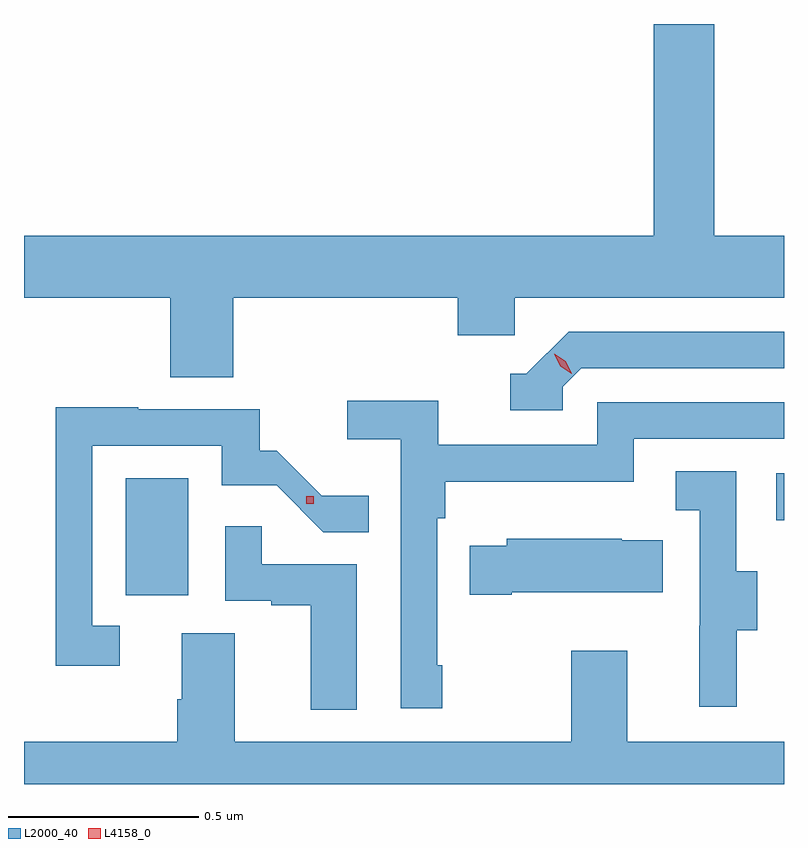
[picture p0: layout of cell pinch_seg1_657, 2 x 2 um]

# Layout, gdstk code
import gdstk
lib = gdstk.Library(unit=1e-6, precision=1e-09)
def R(c, l, rs):  # rectangles x0, y0, x1, y1
    for r in rs: c.add(gdstk.rectangle(r[:2], r[2:], *l))
def P(c, l, *ps):  # polygons
    for p in ps: c.add(gdstk.Polygon(p, *l))
L2000_40 = (2000, 40)
L4158_0 = (4158, 0)

pinch_seg1_657 = lib.new_cell('pinch_seg1_657')
R(pinch_seg1_657, L2000_40, [(1120.586,508.326,1120.75,508.633), (1122.297,508.523,1122.318,508.647)])
P(pinch_seg1_657, L2000_40, [(1120.868,509.108),(1121.459,509.108),(1121.459,509.01),(1121.61,509.01),(1121.61,509.108),(1122.318,509.108),(1122.318,509.272),(1122.135,509.272),(1122.135,509.829),(1121.975,509.829),(1121.975,509.272),(1120.318,509.272),(1120.318,509.108),(1120.703,509.108),(1120.703,508.9),(1120.868,508.9)],
  [(1121.736,508.875),(1121.784,508.923),(1122.318,508.923),(1122.318,509.019),(1121.751,509.019),(1121.64,508.908),(1121.597,508.908),(1121.597,508.812),(1121.736,508.812)],
  [(1121.419,508.141),(1121.406,508.141),(1121.406,508.529),(1121.426,508.529),(1121.426,508.625),(1121.922,508.625),(1121.922,508.737),(1122.318,508.737),(1122.318,508.833),(1121.826,508.833),(1121.826,508.722),(1121.408,508.722),(1121.408,508.838),(1121.169,508.838),(1121.169,508.736),(1121.31,508.736),(1121.31,508.029),(1121.419,508.029)],
  [(1120.57,508.245),(1120.497,508.245),(1120.497,508.719),(1120.839,508.719),(1120.839,508.615),(1120.983,508.615),(1121.106,508.492),(1121.225,508.492),(1121.225,508.587),(1121.102,508.587),(1120.983,508.706),(1120.938,508.706),(1120.938,508.815),(1120.619,508.815),(1120.619,508.82),(1120.401,508.82),(1120.401,508.14),(1120.57,508.14)],
  [(1122.193,508.234),(1122.247,508.234),(1122.247,508.389),(1122.192,508.389),(1122.192,508.652),(1122.033,508.652),(1122.033,508.549),(1122.096,508.549),(1122.096,508.245),(1122.095,508.245),(1122.095,508.032),(1122.193,508.032)],
  [(1121.194,508.407),(1120.944,508.407),(1120.944,508.507),(1120.848,508.507),(1120.848,508.311),(1120.969,508.311),(1120.969,508.299),(1121.072,508.299),(1121.072,508.025),(1121.194,508.025)],
  [(1121.602,508.334),(1121.999,508.334),(1121.999,508.471),(1121.891,508.471),(1121.891,508.474),(1121.589,508.474),(1121.589,508.456),(1121.491,508.456),(1121.491,508.327),(1121.602,508.327)],
  [(1122.318,507.94),(1121.905,507.94),(1121.905,508.18),(1121.758,508.18),(1121.758,507.94),(1120.873,507.94),(1120.873,508.226),(1120.733,508.226),(1120.733,508.052),(1120.721,508.052),(1120.721,507.94),(1120.318,507.94),(1120.318,507.829),(1122.318,507.829)])
R(pinch_seg1_657, L4158_0, [(1121.061,508.566,1121.081,508.586)])
P(pinch_seg1_657, L4158_0, [(1121.76,508.909),(1121.729,508.928),(1121.713,508.961),(1121.713,508.961),(1121.713,508.961),(1121.744,508.942),(1121.76,508.909),(1121.76,508.909)])

lib.write_gds('pinch_seg1_657.gds')
